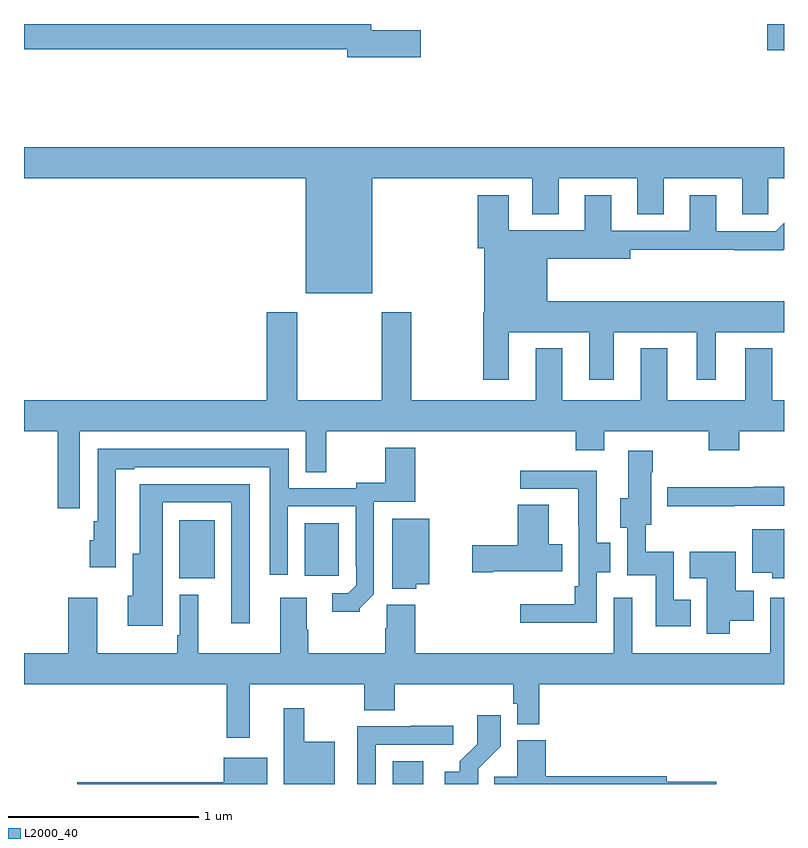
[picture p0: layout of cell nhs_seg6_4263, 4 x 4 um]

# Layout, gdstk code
import gdstk
lib = gdstk.Library(unit=1e-6, precision=1e-09)
def R(c, l, rs):  # rectangles x0, y0, x1, y1
    for r in rs: c.add(gdstk.rectangle(r[:2], r[2:], *l))
def P(c, l, *ps):  # polygons
    for p in ps: c.add(gdstk.Polygon(p, *l))
L2000_40 = (2000, 40)

nhs_seg6_4263 = lib.new_cell('nhs_seg6_4263')
R(nhs_seg6_4263, L2000_40, [(364.94,925.5,365.101,925.621), (363.818,926.582,364.003,926.887), (364.478,926.595,364.657,926.872), (366.912,929.363,367,929.5)])
P(nhs_seg6_4263, L2000_40, [(365.089,929.468),(364.828,929.468),(364.828,929.5),(363,929.5),(363,929.368),(364.7,929.368),(364.7,929.326),(365.089,929.326)],
  [(364.834,928.688),(365.675,928.688),(365.675,928.499),(365.815,928.499),(365.815,928.688),(366.227,928.688),(366.227,928.498),(366.367,928.498),(366.367,928.688),(366.779,928.688),(366.779,928.498),(366.918,928.498),(366.918,928.688),(367,928.688),(367,928.852),(363,928.852),(363,928.688),(364.484,928.688),(364.484,928.082),(364.834,928.082)],
  [(365.551,927.878),(365.975,927.878),(365.975,927.627),(366.103,927.627),(366.103,927.878),(366.542,927.878),(366.542,927.627),(366.64,927.627),(366.64,927.878),(367,927.878),(367,928.042),(365.755,928.042),(365.755,928.265),(366.19,928.265),(366.19,928.312),(366.739,928.312),(366.739,928.31),(366.995,928.31),(367,928.315),(367,928.453),(366.957,928.41),(366.643,928.41),(366.643,928.6),(366.503,928.6),(366.503,928.413),(366.091,928.413),(366.091,928.6),(365.951,928.6),(365.951,928.414),(365.551,928.414),(365.551,928.6),(365.387,928.6),(365.387,928.32),(365.423,928.32),(365.423,927.982),(365.416,927.982),(365.416,927.627),(365.551,927.627)],
  [(363.294,927.356),(364.482,927.356),(364.482,927.142),(364.591,927.142),(364.591,927.356),(365.903,927.356),(365.903,927.257),(366.055,927.257),(366.055,927.356),(366.604,927.356),(366.604,927.257),(366.764,927.257),(366.764,927.356),(367,927.356),(367,927.52),(366.937,927.52),(366.937,927.793),(366.797,927.793),(366.797,927.52),(366.385,927.52),(366.385,927.793),(366.245,927.793),(366.245,927.52),(365.833,927.52),(365.833,927.793),(365.693,927.793),(365.693,927.52),(365.037,927.52),(365.037,927.982),(364.882,927.982),(364.882,927.52),(364.437,927.52),(364.437,927.982),(364.277,927.982),(364.277,927.52),(363,927.52),(363,927.356),(363.178,927.356),(363.178,926.952),(363.294,926.952)],
  [(364.767,926.424),(364.842,926.499),(364.842,926.985),(365.06,926.985),(365.06,927.271),(364.9,927.271),(364.9,927.086),(364.749,927.086),(364.749,927.057),(364.393,927.057),(364.393,927.264),(363.387,927.264),(363.387,926.884),(363.367,926.884),(363.367,926.784),(363.347,926.784),(363.347,926.64),(363.483,926.64),(363.483,927.156),(363.58,927.156),(363.58,927.168),(364.293,927.168),(364.293,926.601),(364.389,926.601),(364.389,926.961),(364.746,926.961),(364.746,926.647),(364.749,926.647),(364.749,926.547),(364.707,926.505),(364.623,926.505),(364.623,926.407),(364.767,926.407)],
  [(366.508,926.47),(366.42,926.47),(366.42,926.722),(366.273,926.722),(366.273,926.864),(366.301,926.864),(366.301,927.14),(366.309,927.14),(366.309,927.253),(366.179,927.253),(366.179,927.003),(366.137,927.003),(366.137,926.848),(366.174,926.848),(366.174,926.6),(366.324,926.6),(366.324,926.33),(366.508,926.33)],
  [(366.015,926.614),(366.085,926.614),(366.085,926.769),(366.015,926.769),(366.015,927.15),(365.613,927.15),(365.613,927.054),(365.918,927.054),(365.918,926.857),(365.919,926.857),(365.919,926.542),(365.899,926.542),(365.899,926.446),(365.613,926.446),(365.613,926.348),(366.015,926.348)],
  [(363.73,926.982),(364.092,926.982),(364.092,926.346),(364.188,926.346),(364.188,927.078),(363.608,927.078),(363.608,926.713),(363.572,926.713),(363.572,926.49),(363.545,926.49),(363.545,926.333),(363.73,926.333)],
  [(366.737,926.964),(367,926.964),(367,927.065),(366.841,927.065),(366.841,927.062),(366.386,927.062),(366.386,926.962),(366.737,926.962)],
  [(365.47,926.621),(365.834,926.621),(365.834,926.761),(365.761,926.761),(365.761,926.969),(365.599,926.969),(365.599,926.756),(365.358,926.756),(365.358,926.614),(365.47,926.614)],
  [(365.064,926.552),(365.134,926.552),(365.134,926.896),(364.937,926.896),(364.937,926.528),(365.064,926.528)],
  [(367,926.842),(366.833,926.842),(366.833,926.612),(366.938,926.612),(366.938,926.582),(367,926.582)],
  [(366.715,926.36),(366.842,926.36),(366.842,926.518),(366.745,926.518),(366.745,926.722),(366.505,926.722),(366.505,926.582),(366.593,926.582),(366.593,926.292),(366.715,926.292)],
  [(364.189,926.024),(364.792,926.024),(364.792,925.888),(364.952,925.888),(364.952,926.024),(365.575,926.024),(365.575,925.923),(365.595,925.923),(365.595,925.814),(365.711,925.814),(365.711,926.024),(367,926.024),(367,926.479),(366.927,926.479),(366.927,926.188),(366.201,926.188),(366.201,926.479),(366.105,926.479),(366.105,926.188),(365.06,926.188),(365.06,926.443),(364.908,926.443),(364.908,926.321),(364.9,926.321),(364.9,926.188),(364.497,926.188),(364.497,926.312),(364.489,926.312),(364.489,926.479),(364.349,926.479),(364.349,926.188),(363.916,926.188),(363.916,926.497),(363.819,926.497),(363.819,926.284),(363.807,926.284),(363.807,926.188),(363.385,926.188),(363.385,926.479),(363.233,926.479),(363.233,926.188),(363,926.188),(363,926.024),(364.068,926.024),(364.068,925.743),(364.189,925.743)],
  [(364.636,925.723),(364.474,925.723),(364.474,925.9),(364.367,925.9),(364.367,925.5),(364.636,925.5)],
  [(365.391,925.579),(365.51,925.698),(365.51,925.861),(365.385,925.861),(365.385,925.709),(365.294,925.619),(365.294,925.564),(365.214,925.564),(365.214,925.5),(365.391,925.5)],
  [(364.851,925.707),(365.26,925.707),(365.26,925.806),(365.035,925.806),(365.035,925.803),(364.755,925.803),(364.755,925.5),(364.851,925.5)],
  [(366.643,925.511),(366.382,925.511),(366.382,925.54),(365.747,925.54),(365.747,925.729),(365.597,925.729),(365.597,925.538),(365.476,925.538),(365.476,925.5),(366.643,925.5)],
  [(364.279,925.639),(364.052,925.639),(364.052,925.508),(363.28,925.508),(363.28,925.5),(364.279,925.5)])

lib.write_gds('nhs_seg6_4263.gds')
